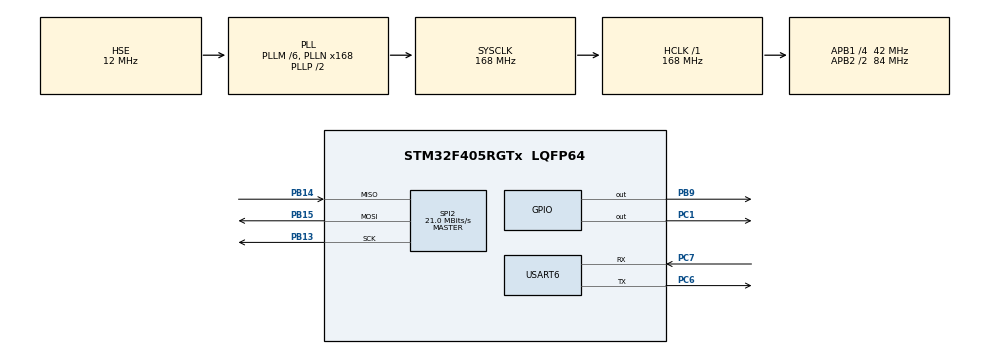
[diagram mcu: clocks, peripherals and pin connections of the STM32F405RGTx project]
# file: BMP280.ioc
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Mcu.Family=STM32F4
Mcu.Name=STM32F405RGTx
Mcu.Package=LQFP64
NVIC.PriorityGroup=NVIC_PRIORITYGROUP_4
PA13.Mode=Serial_Wire
PA13.Signal=SYS_JTMS-SWDIO
PA14.Mode=Serial_Wire
PA14.Signal=SYS_JTCK-SWCLK
PB13.Mode=Full_Duplex_Master
PB13.Signal=SPI2_SCK
PB14.Mode=Full_Duplex_Master
PB14.Signal=SPI2_MISO
PB15.Mode=Full_Duplex_Master
PB15.Signal=SPI2_MOSI
PB9.Signal=GPIO_Output
PC1.Signal=GPIO_Output
PC6.Mode=Asynchronous
PC6.Signal=USART6_TX
PC7.Mode=Asynchronous
PC7.Signal=USART6_RX
PH0-OSC_IN.Mode=HSE-External-Oscillator
PH0-OSC_IN.Signal=RCC_OSC_IN
PH1-OSC_OUT.Mode=HSE-External-Oscillator
PH1-OSC_OUT.Signal=RCC_OSC_OUT
ProjectManager.HeapSize=0x200
ProjectManager.StackSize=0x400
ProjectManager.TargetToolchain=STM32CubeIDE
RCC.48MHZClocksFreq_Value=84000000
RCC.AHBFreq_Value=168000000
RCC.APB1CLKDivider=RCC_HCLK_DIV4
RCC.APB1Freq_Value=42000000
RCC.APB1TimFreq_Value=84000000
RCC.APB2CLKDivider=RCC_HCLK_DIV2
RCC.APB2Freq_Value=84000000
RCC.APB2TimFreq_Value=168000000
RCC.CortexFreq_Value=168000000
RCC.HCLKFreq_Value=168000000
RCC.HSE_VALUE=12000000
RCC.HSI_VALUE=16000000
RCC.LSE_VALUE=32768
RCC.PLLM=6
RCC.PLLN=168
RCC.PLLSourceVirtual=RCC_PLLSOURCE_HSE
RCC.SYSCLKFreq_VALUE=168000000
RCC.SYSCLKSource=RCC_SYSCLKSOURCE_PLLCLK
RCC.VCOOutputFreq_Value=336000000
SPI2.CalculateBaudRate=21.0 MBits/s
SPI2.Direction=SPI_DIRECTION_2LINES
SPI2.Mode=SPI_MODE_MASTER
SPI2.VirtualType=VM_MASTER
USART6.VirtualMode=VM_ASYNC
board=custom

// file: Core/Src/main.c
/* USER CODE BEGIN Header */
/**
  ******************************************************************************
  * @file           : main.c
  * @brief          : Main program body
  ******************************************************************************
  * @attention
  *
  * Copyright (c) 2024 STMicroelectronics.
  * All rights reserved.
  *
  * This software is licensed under terms that can be found in the LICENSE file
  * in the root directory of this software component.
  * If no LICENSE file comes with this software, it is provided AS-IS.
  *
  ******************************************************************************
  */
/* USER CODE END Header */
#include "main.h"

/* USER CODE BEGIN Includes */
#include"stdio.h"
#include "string.h"
/* USER CODE END Includes */

/* USER CODE BEGIN PD */
#define BMP280_REG_ID         0xD0
#define BMP280_REG_RESET      0xE0
#define BMP280_REG_STATUS     0xF3
#define BMP280_REG_CTRL_MEAS  0xF4
#define BMP280_REG_CONFIG     0xF5
#define BMP280_REG_PRESS_MSB  0xF7
#define BMP280_REG_PRESS_LSB  0xF8
#define BMP280_REG_PRESS_XLSB 0xF9
#define BMP280_REG_TEMP_MSB   0xFA
#define BMP280_REG_TEMP_LSB   0xFB
#define BMP280_REG_TEMP_XLSB  0xFC
/* USER CODE END PD */

SPI_HandleTypeDef hspi2;

UART_HandleTypeDef huart6;

/* USER CODE BEGIN PV */
uint16_t dig_T1;
int16_t dig_T2, dig_T3;
uint16_t dig_P1;
int16_t dig_P2, dig_P3, dig_P4, dig_P5, dig_P6, dig_P7, dig_P8, dig_P9;
/* USER CODE END PV */

void SystemClock_Config(void);
static void MX_GPIO_Init(void);
static void MX_USART6_UART_Init(void);
static void MX_SPI2_Init(void);
/* USER CODE BEGIN PFP */
uint8_t BMP280_ReadRegister8(uint8_t reg);
void BMP280_WriteRegister8(uint8_t reg, uint8_t value);
void BMP280_ReadCalibrationData(void);
uint16_t BMP280_Read16_LE(uint8_t reg);
int16_t BMP280_ReadS16_LE(uint8_t reg);
int32_t BMP280_ReadTemperature(void);
uint32_t BMP280_ReadPressure(void);
/* USER CODE END PFP */

/* USER CODE BEGIN 0 */
int _write(int file, char *ptr, int len)
{
	HAL_UART_Transmit(&huart6, (uint8_t*)ptr, len, HAL_MAX_DELAY);
	return len;
}
uint8_t counter = 0;
uint8_t bmp280_id;
int32_t temperature;
uint32_t pressure;

/* USER CODE END 0 */

int main(void)
{

  /* MCU Configuration--------------------------------------------------------*/

  /* Reset of all peripherals, Initializes the Flash interface and the Systick. */
  HAL_Init();

  /* Configure the system clock */
  SystemClock_Config();

  /* Initialize all configured peripherals */
  MX_GPIO_Init();
  MX_USART6_UART_Init();
  MX_SPI2_Init();

  /* USER CODE BEGIN 2.0 */
    uint8_t BMP280_ReadRegister8(uint8_t reg) {
      uint8_t value;
      uint8_t addr = reg | 0x80; // Set MSB to 1 for read operation

        HAL_GPIO_WritePin(GPIOB, GPIO_PIN_9, GPIO_PIN_RESET); // CS pin low
        HAL_SPI_Transmit(&hspi2, &addr, 1, HAL_MAX_DELAY);
        HAL_SPI_Receive(&hspi2, &value, 1, HAL_MAX_DELAY);
        HAL_GPIO_WritePin(GPIOB, GPIO_PIN_9, GPIO_PIN_SET); // CS pin high

        return value;
    }

  void BMP280_WriteRegister8(uint8_t reg, uint8_t value) {
        uint8_t addr = reg & 0x7F; // Set MSB to 0 for write operation

        HAL_GPIO_WritePin(GPIOB, GPIO_PIN_12, GPIO_PIN_RESET); // CS pin low
        HAL_SPI_Transmit(&hspi2, &addr, 1, HAL_MAX_DELAY);
        HAL_SPI_Transmit(&hspi2, &value, 1, HAL_MAX_DELAY);
        HAL_GPIO_WritePin(GPIOB, GPIO_PIN_12, GPIO_PIN_SET); // CS pin high
    }

    uint16_t BMP280_Read16_LE(uint8_t reg) {
        return (BMP280_ReadRegister8(reg) | (BMP280_ReadRegister8(reg + 1) << 8));
    }

    int16_t BMP280_ReadS16_LE(uint8_t reg) {
        return (int16_t)BMP280_Read16_LE(reg);
    }

  void BMP280_ReadCalibrationData(void) {
        dig_T1 = BMP280_Read16_LE(0x88);
        dig_T2 = BMP280_ReadS16_LE(0x8A);
        dig_T3 = BMP280_ReadS16_LE(0x8C);
        dig_P1 = BMP280_Read16_LE(0x8E);
        dig_P2 = BMP280_ReadS16_LE(0x90);
        dig_P3 = BMP280_ReadS16_LE(0x92);
        dig_P4 = BMP280_ReadS16_LE(0x94);
        dig_P5 = BMP280_ReadS16_LE(0x96);
        dig_P6 = BMP280_ReadS16_LE(0x98);
        dig_P7 = BMP280_ReadS16_LE(0x9A);
        dig_P8 = BMP280_ReadS16_LE(0x9C);
        dig_P9 = BMP280_ReadS16_LE(0x9E);
    }

    int32_t BMP280_ReadTemperature(void) {
        int32_t var1, var2;
        int32_t adc_T = (BMP280_ReadRegister8(BMP280_REG_TEMP_MSB) << 12) | (BMP280_ReadRegister8(BMP280_REG_TEMP_LSB) << 4) | (BMP280_ReadRegister8(BMP280_REG_TEMP_XLSB) >> 4);

        var1 = ((((adc_T >> 3) - ((int32_t)dig_T1 << 1))) * ((int32_t)dig_T2)) >> 11;
        var2 = (((((adc_T >> 4) - ((int32_t)dig_T1)) * ((adc_T >> 4) - ((int32_t)dig_T1))) >> 12) * ((int32_t)dig_T3)) >> 14;
        int32_t t_fine = var1 + var2;
        return (t_fine * 5 + 128) >> 8;
    }

    uint32_t BMP280_ReadPressure(void) {
        int32_t var1, var2;
        int32_t adc_P = (BMP280_ReadRegister8(BMP280_REG_PRESS_MSB) << 12) | (BMP280_ReadRegister8(BMP280_REG_PRESS_LSB) << 4) | (BMP280_ReadRegister8(BMP280_REG_PRESS_XLSB) >> 4);
        int32_t t_fine = BMP280_ReadTemperature(); // call readTemperature to get t_fine value

        var1 = (((int32_t)t_fine) >> 1) - (int32_t)64000;
        var2 = (((var1 >> 2) * (var1 >> 2)) >> 11) * ((int32_t)dig_P6);
        var2 = var2 + ((var1 * ((int32_t)dig_P5)) << 1);
        var2 = (var2 >> 2) + (((int32_t)dig_P4) << 16);
        var1 = (((dig_P3 * (((var1 >> 2) * (var1 >> 2)) >> 13)) >> 3) + ((((int32_t)dig_P2) * var1) >> 1)) >> 18;
        var1 = ((((32768 + var1)) * ((int32_t)dig_P1)) >> 15);
        if (var1 == 0) {
            return 0; // avoid exception caused by division by zero
        }
        uint32_t p = (((uint32_t)(((int32_t)1048576) - adc_P) - (var2 >> 12))) * 3125;
        if (p < 0x80000000) {
            p = (p << 1) / ((uint32_t)var1);
        } else {
            p = (p / (uint32_t)var1) * 2;
        }
        var1 = (((int32_t)dig_P9) * ((int32_t)(((p >> 3) * (p >> 3)) >> 13))) >> 12;
        var2 = (((int32_t)(p >> 2)) * ((int32_t)dig_P8)) >> 13;
        p = (uint32_t)((int32_t)p + ((var1 + var2 + dig_P7) >> 4));
        return p;
    }
    /* USER CODE END 2.0 */

  /* USER CODE BEGIN 2 */
  bmp280_id = BMP280_ReadRegister8(BMP280_REG_ID);
  if (bmp280_id != 0x58) {
    printf("BMP280 not found! ID = 0x%02X\r\n", bmp280_id);
    Error_Handler();
  } else {
    printf("Happy BMP280 found! ID = 0x%02X\r\n", bmp280_id);
  }

  BMP280_WriteRegister8(BMP280_REG_CTRL_MEAS, 0x27); // Normal mode, temp and press oversampling 1
  BMP280_WriteRegister8(BMP280_REG_CONFIG, 0xA0);    // Standby time 1000ms

  BMP280_ReadCalibrationData();

  /* USER CODE END 2 */

  /* Infinite loop */
  while (1)
  {
	    temperature = BMP280_ReadTemperature();
	    pressure = BMP280_ReadPressure();
	    printf("Temperature: %ld.%02ld°C\r\n", temperature / 100, temperature % 100);
	    printf("Pressure: %lu \r\n", pressure);
	    printf("Counter value %d \r\n",counter);
	    counter++;
	    HAL_GPIO_TogglePin(GPIOC, GPIO_PIN_1);
	    HAL_Delay(1000);
  }

}

void SystemClock_Config(void)
{
  RCC_OscInitTypeDef RCC_OscInitStruct = {0};
  RCC_ClkInitTypeDef RCC_ClkInitStruct = {0};

  /** Configure the main internal regulator output voltage
  */
  __HAL_RCC_PWR_CLK_ENABLE();
  __HAL_PWR_VOLTAGESCALING_CONFIG(PWR_REGULATOR_VOLTAGE_SCALE1);

  /** Initializes the RCC Oscillators according to the specified parameters
  * in the RCC_OscInitTypeDef structure.
  */
  RCC_OscInitStruct.OscillatorType = RCC_OSCILLATORTYPE_HSE;
  RCC_OscInitStruct.HSEState = RCC_HSE_ON;
  RCC_OscInitStruct.PLL.PLLState = RCC_PLL_ON;
  RCC_OscInitStruct.PLL.PLLSource = RCC_PLLSOURCE_HSE;
  RCC_OscInitStruct.PLL.PLLM = 6;
  RCC_OscInitStruct.PLL.PLLN = 168;
  RCC_OscInitStruct.PLL.PLLP = RCC_PLLP_DIV2;
  RCC_OscInitStruct.PLL.PLLQ = 4;
  if (HAL_RCC_OscConfig(&RCC_OscInitStruct) != HAL_OK)
  {
    Error_Handler();
  }

  /** Initializes the CPU, AHB and APB buses clocks
  */
  RCC_ClkInitStruct.ClockType = RCC_CLOCKTYPE_HCLK|RCC_CLOCKTYPE_SYSCLK
                              |RCC_CLOCKTYPE_PCLK1|RCC_CLOCKTYPE_PCLK2;
  RCC_ClkInitStruct.SYSCLKSource = RCC_SYSCLKSOURCE_PLLCLK;
  RCC_ClkInitStruct.AHBCLKDivider = RCC_SYSCLK_DIV1;
  RCC_ClkInitStruct.APB1CLKDivider = RCC_HCLK_DIV4;
  RCC_ClkInitStruct.APB2CLKDivider = RCC_HCLK_DIV2;

  if (HAL_RCC_ClockConfig(&RCC_ClkInitStruct, FLASH_LATENCY_5) != HAL_OK)
  {
    Error_Handler();
  }
}

static void MX_SPI2_Init(void)
{

  /* SPI2 parameter configuration*/
  hspi2.Instance = SPI2;
  hspi2.Init.Mode = SPI_MODE_MASTER;
  hspi2.Init.Direction = SPI_DIRECTION_2LINES;
  hspi2.Init.DataSize = SPI_DATASIZE_8BIT;
  hspi2.Init.CLKPolarity = SPI_POLARITY_LOW;
  hspi2.Init.CLKPhase = SPI_PHASE_1EDGE;
  hspi2.Init.NSS = SPI_NSS_SOFT;
  hspi2.Init.BaudRatePrescaler = SPI_BAUDRATEPRESCALER_2;
  hspi2.Init.FirstBit = SPI_FIRSTBIT_MSB;
  hspi2.Init.TIMode = SPI_TIMODE_DISABLE;
  hspi2.Init.CRCCalculation = SPI_CRCCALCULATION_DISABLE;
  hspi2.Init.CRCPolynomial = 10;
  if (HAL_SPI_Init(&hspi2) != HAL_OK)
  {
    Error_Handler();
  }

}

static void MX_USART6_UART_Init(void)
{

  huart6.Instance = USART6;
  huart6.Init.BaudRate = 115200;
  huart6.Init.WordLength = UART_WORDLENGTH_8B;
  huart6.Init.StopBits = UART_STOPBITS_1;
  huart6.Init.Parity = UART_PARITY_NONE;
  huart6.Init.Mode = UART_MODE_TX_RX;
  huart6.Init.HwFlowCtl = UART_HWCONTROL_NONE;
  huart6.Init.OverSampling = UART_OVERSAMPLING_16;
  if (HAL_UART_Init(&huart6) != HAL_OK)
  {
    Error_Handler();
  }

}

static void MX_GPIO_Init(void)
{
  GPIO_InitTypeDef GPIO_InitStruct = {0};

  /* GPIO Ports Clock Enable */
  __HAL_RCC_GPIOH_CLK_ENABLE();
  __HAL_RCC_GPIOC_CLK_ENABLE();
  __HAL_RCC_GPIOB_CLK_ENABLE();
  __HAL_RCC_GPIOA_CLK_ENABLE();

  /*Configure GPIO pin Output Level */
  HAL_GPIO_WritePin(GPIOC, GPIO_PIN_1, GPIO_PIN_RESET);

  /*Configure GPIO pin Output Level */
  HAL_GPIO_WritePin(GPIOB, GPIO_PIN_9, GPIO_PIN_RESET);

  /*Configure GPIO pin : PC1 */
  GPIO_InitStruct.Pin = GPIO_PIN_1;
  GPIO_InitStruct.Mode = GPIO_MODE_OUTPUT_PP;
  GPIO_InitStruct.Pull = GPIO_NOPULL;
  GPIO_InitStruct.Speed = GPIO_SPEED_FREQ_LOW;
  HAL_GPIO_Init(GPIOC, &GPIO_InitStruct);

  /*Configure GPIO pin : PB9 */
  GPIO_InitStruct.Pin = GPIO_PIN_9;
  GPIO_InitStruct.Mode = GPIO_MODE_OUTPUT_PP;
  GPIO_InitStruct.Pull = GPIO_NOPULL;
  GPIO_InitStruct.Speed = GPIO_SPEED_FREQ_LOW;
  HAL_GPIO_Init(GPIOB, &GPIO_InitStruct);

}

void Error_Handler(void)
{
  __disable_irq();
  while (1)
  {
  }
}
